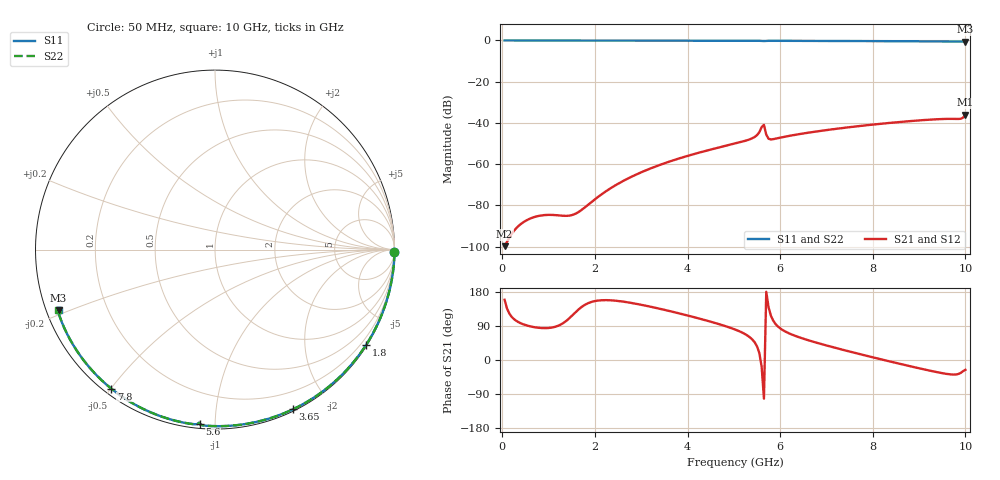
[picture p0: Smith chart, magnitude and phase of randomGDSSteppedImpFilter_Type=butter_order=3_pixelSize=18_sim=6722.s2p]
! freq	dB(S11)	phase(S11)	dB(S12)	phase(S12)
!  dB(S21)	phase(S21)	dB(S22)	phase(S22)
!S-par simulation data
#  GHz  S  DB  R 50
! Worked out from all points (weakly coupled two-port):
!   200 points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, 50 MHz to 10 GHz, reference 50 ohm
!   highest |S21| = -35.99 dB at 10 GHz (marker M1); lowest = -99.8 dB at 50 MHz (marker M2)
!   lowest |S11| = -0.6 dB at 10 GHz (marker M3), VSWR 29.84, Z = 1.73 - j9.36 ohm
!   |S11| at or under -10 dB: nowhere
!   |S22| runs from -0.6 to 0.0 dB; largest |S21 - S12| = 0
!   S11 on the Smith chart (normalised r, x): 50 MHz: open; 1.8 GHz: 0.03, -3.44; 3.65 GHz: 0.02, -1.60; 5.6 GHz: 0.02, -0.92; 7.8 GHz: 0.02, -0.50; 10 GHz: 0.03, -0.19
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0.05  -0.00 -0.9  -99.80 158.9  -99.80 158.9  -0.00 -0.9
0.85  -0.02 -15.4  -84.87 84.3  -84.87 84.3  -0.02 -15.5
1.75  -0.04 -31.5  -81.57 143.1  -81.57 143.1  -0.04 -31.5
1.8  -0.04 -32.4  -80.69 146.7  -80.69 146.7  -0.04 -32.4
1.85  -0.04 -33.3  -79.78 149.7  -79.78 149.7  -0.04 -33.3
2.2  -0.05 -39.4  -73.76 157.9  -73.76 157.9  -0.05 -39.4
2.55  -0.06 -45.4  -68.90 155.0  -68.90 155.0  -0.06 -45.5
3.4  -0.08 -59.8  -60.40 135.2  -60.40 135.2  -0.08 -59.8
3.65  -0.09 -63.9  -58.45 128.1  -58.45 128.1  -0.09 -63.9
5.05  -0.13 -86.2  -49.87 79.3  -49.87 79.3  -0.13 -86.3
5.45  -0.15 -92.5  -46.81 46.7  -46.81 46.7  -0.15 -92.5
5.55  -0.17 -94.1  -44.55 18.7  -44.55 18.7  -0.17 -94.2
5.6  -0.21 -95.0  -42.03 -17.1  -42.03 -17.1  -0.21 -95.1
5.65  -0.27 -95.2  -40.97 -101.9  -40.97 -101.9  -0.28 -95.3
5.7  -0.20 -95.7  -45.71 180.0  -45.71 180.0  -0.20 -95.8
5.75  -0.18 -96.6  -47.69 139.1  -47.69 139.1  -0.18 -96.6
5.8  -0.18 -97.4  -48.01 117.0  -48.01 117.0  -0.18 -97.5
6.7  -0.22 -110.9  -44.43 48.7  -44.43 48.7  -0.22 -110.9
7.8  -0.30 -126.7  -41.30 13.1  -41.30 13.1  -0.30 -126.8
8.35  -0.35 -134.6  -40.04 -3.3  -40.04 -3.3  -0.35 -134.7
9.9  -0.53 -157.2  -37.98 -34.0  -37.98 -34.0  -0.53 -157.3
10  -0.58 -158.8  -35.99 -26.0  -35.99 -26.0  -0.58 -158.9
